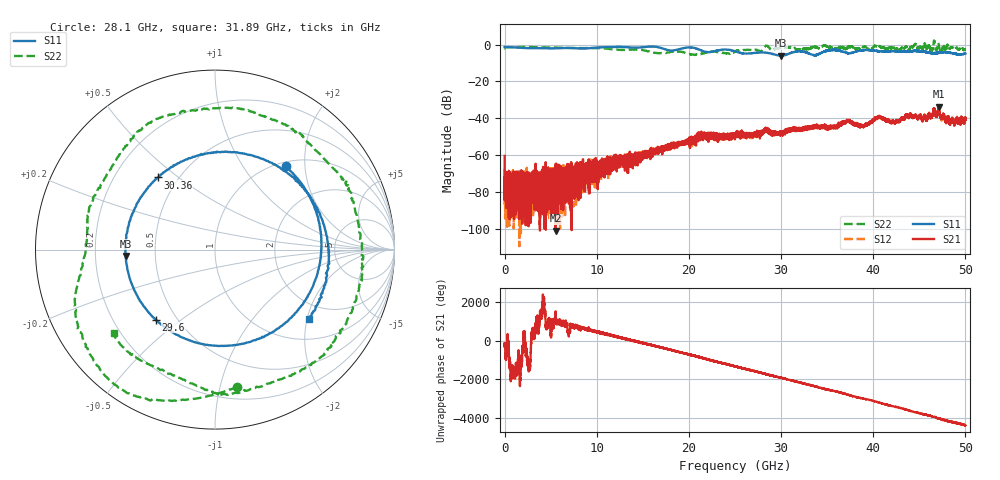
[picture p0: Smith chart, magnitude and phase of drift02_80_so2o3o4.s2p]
!Created with skrf (http://scikit-rf.org).
# Hz S RI R 50.0
!freq ReS11 ImS11 ReS21 ImS21 ReS12 ImS12 ReS22 ImS22
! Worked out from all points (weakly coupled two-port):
!   10001 points, 300 kHz to 50 GHz, reference 50 ohm
!   highest |S21| = -33.84 dB at 47.09 GHz (marker M1); lowest = -101.2 dB at 5.535 GHz (marker M2)
!   lowest |S11| = -6.1 dB at 29.94 GHz (marker M3), VSWR 2.98, Z = 16.8 - j1.6 ohm
!   |S11| at or under -10 dB: nowhere
!   |S22| runs from -5.7 to 2.2 dB; largest |S21 - S12| = 0.0037
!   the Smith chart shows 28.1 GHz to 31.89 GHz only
!   S11 on the Smith chart (normalised r, x): 28.1 GHz: 1.08, +1.59; 29.6 GHz: 0.39, -0.41; 30.36 GHz: 0.39, +0.42; 31.89 GHz: 1.54, -2.04
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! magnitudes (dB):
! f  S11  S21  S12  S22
! 300 kHz  -1.3  -60.5  -67.9  -2.0
! 275.3 MHz  -1.4  -76.3  -76.1  -1.4
! 3.38 GHz  -2.0  -85.7  -84.6  -1.5
! 3.885 GHz  -2.0  -76.1  -78.4  -1.5
! 5.535 GHz  -2.1  -101.2  -73.5  -1.7
! 8.335 GHz  -2.2  -65.5  -73.2  -1.9
! 16.67 GHz  -1.5  -59.3  -57.0  -4.7
! 21.51 GHz  -3.5  -50.7  -49.9  -4.7
! 25 GHz  -3.7  -49.4  -48.8  -3.9
! 28.1 GHz  -4.3  -46.8  -47.6  -2.2
! 29.6 GHz  -5.9  -47.6  -47.7  -2.1
! 29.94 GHz  -6.1  -48.4  -48.0  -2.0
! 30.36 GHz  -5.8  -48.2  -47.1  -1.9
! 31.89 GHz  -3.8  -45.6  -46.7  -2.7
! 33.34 GHz  -5.5  -44.5  -44.7  -1.5
! 37.27 GHz  -4.7  -41.8  -41.4  -1.5
! 38.88 GHz  -3.0  -44.0  -44.3  -1.3
! 40.66 GHz  -3.7  -39.0  -39.1  -0.8
! 41.67 GHz  -3.7  -41.2  -41.0  -1.9
! 47.09 GHz  -4.5  -33.8  -35.0  0.6
! 48.13 GHz  -4.4  -39.9  -39.4  -0.6
! 50 GHz  -4.9  -40.9  -40.1  -2.7
